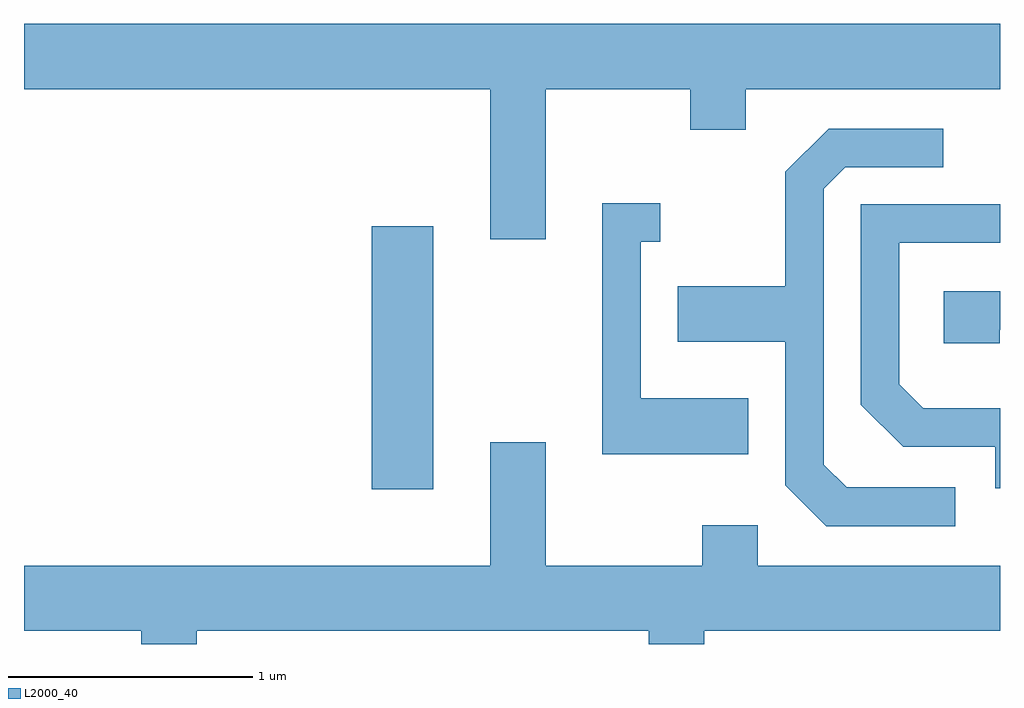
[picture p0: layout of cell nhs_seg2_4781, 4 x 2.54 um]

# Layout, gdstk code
import gdstk
lib = gdstk.Library(unit=1e-6, precision=1e-09)
def R(c, l, rs):  # rectangles x0, y0, x1, y1
    for r in rs: c.add(gdstk.rectangle(r[:2], r[2:], *l))
def P(c, l, *ps):  # polygons
    for p in ps: c.add(gdstk.Polygon(p, *l))
L2000_40 = (2000, 40)

nhs_seg2_4781 = lib.new_cell('nhs_seg2_4781')
R(nhs_seg2_4781, L2000_40, [(327.036,1064.436,327.289,1065.514)])
P(nhs_seg2_4781, L2000_40, [(327.749,1066.076),(328.341,1066.076),(328.341,1065.911),(328.569,1065.911),(328.569,1066.076),(329.611,1066.076),(329.611,1066.344),(325.611,1066.344),(325.611,1066.076),(327.521,1066.076),(327.521,1065.461),(327.749,1065.461)],
  [(329.428,1064.444),(328.982,1064.444),(328.889,1064.537),(328.889,1065.669),(328.977,1065.756),(329.378,1065.756),(329.378,1065.914),(328.909,1065.914),(328.731,1065.737),(328.731,1065.269),(328.291,1065.269),(328.291,1065.041),(328.731,1065.041),(328.731,1064.454),(328.899,1064.286),(329.428,1064.286)],
  [(328.579,1064.809),(328.139,1064.809),(328.139,1065.451),(328.218,1065.451),(328.218,1065.609),(327.981,1065.609),(327.981,1064.581),(328.579,1064.581)],
  [(329.611,1064.769),(329.297,1064.769),(329.199,1064.867),(329.199,1065.446),(329.611,1065.446),(329.611,1065.604),(329.041,1065.604),(329.041,1064.784),(329.214,1064.611),(329.591,1064.611),(329.591,1064.441),(329.611,1064.441)],
  [(329.609,1065.091),(329.611,1065.091),(329.611,1065.249),(329.381,1065.249),(329.381,1065.036),(329.609,1065.036)],
  [(328.391,1064.124),(327.749,1064.124),(327.749,1064.629),(327.521,1064.629),(327.521,1064.124),(325.611,1064.124),(325.611,1063.856),(326.091,1063.856),(326.091,1063.802),(326.319,1063.802),(326.319,1063.856),(328.171,1063.856),(328.171,1063.802),(328.399,1063.802),(328.399,1063.856),(329.611,1063.856),(329.611,1064.124),(328.619,1064.124),(328.619,1064.289),(328.391,1064.289)])

lib.write_gds('nhs_seg2_4781.gds')
